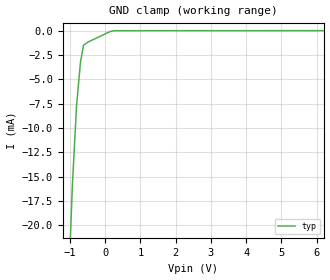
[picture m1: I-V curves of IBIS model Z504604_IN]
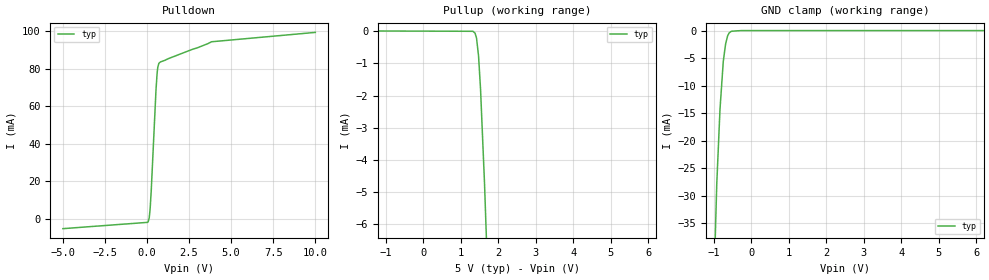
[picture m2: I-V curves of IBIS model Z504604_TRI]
| YOU ARE ONLY AUTHORIZED TO USE THIS SOFTWARE
| ACCORDING TO LICENSOR'S LICENSE RESTRICTIONS.
[IBIS Ver] 3.1
[File Name] sn74ls240n.ibs
[File Rev] 2.0
[Source] Measured and created by ICX Technology
[Date] Friday 7/14/00 9:08:18 AM
[Copyright]
| (C) COPYRIGHT 1993-2000
| MENTOR GRAPHICS CORPORATION
| ICX STANDARD LIBRARY, ICX PROJECT MODELING,
| ICX CUSTOM MODELING, ICX VENDOR MODEL
| ALL RIGHTS RESERVED.
| THE FOLLOWING ARE TRADEMARKS OR SERVICE MARKS OF
| MENTOR GRAPHICS CORPORATION:ICX (R), ICX STANDARD
| LIBRARY(R), ICX PROJECT MODELING(R), ICX CUSTOM
| MODELING(R), qualityIBIS(TM), MODELVIEWER(TM),
| AND MODELEDITOR(TM)
| ALL COPIES OF SOFTWARE, INCLUDING BUT NOT LIMITED TO
| ANY MODIFICATIONS, ENHANCEMENTS OR DERIVATIVE WORKS,
| MUST CONTAIN ALL MENTOR GRAPHICS CORPORATION'S
| NOTICES AND LEGENDS, INCLUDING THOSE EMBEDDED IN
| SOFTWARE AND THOSE AFFIXED TO SOFTWARE MEDIUM
| AND CONTAINER, AS RECEIVED FROM MENTOR GRAPHICS
| CORPORATION.
|  ZAP Model Builder 2.7
[Component] SN74LS240N
[Manufacturer] OnSemiconductor
[Package]
| variable   typ   min   max
R_pkg  .216ohms NA NA
L_pkg  5.76nH NA NA
C_pkg  1.29pF NA NA
[Pin] signal_name  model_name  R_pin  L_pin C_pin
1 _G Z504604_IN .232 9.76n 1.87p
2 A0 Z504604_IN .224 7.26n 1.58p
3 _Y3 Z504604_TRI .216 5.26n 1.29p
4 A1 Z504604_IN .208 3.76n 1.0p
5 _Y2 Z504604_TRI .2 2.76n .71p
6 A2 Z504604_IN .2 2.76n .71p
7 _Y1 Z504604_TRI .208 3.76n 1.0p
8 A3 Z504604_IN .216 5.26n 1.29p
9 _Y0 Z504604_TRI .224 7.26n 1.58p
10 GND GND .232 9.76n 1.87p
11 A0 Z504604_IN .232 9.76n 1.87p
12 _Y3 Z504604_TRI .224 7.26n 1.58p
13 A1 Z504604_IN .216 5.26n 1.29p
14 _Y2 Z504604_TRI .208 3.76n 1.0p
15 A2 Z504604_IN .2 2.76n .71p
16 _Y1 Z504604_TRI .2 2.76n .71p
17 A3 Z504604_IN .208 3.76n 1.0p
18 _Y0 Z504604_TRI .216 5.26n 1.29p
19 _G Z504604_IN .224 7.26n 1.58p
20 VCC POWER .232 9.76n 1.87p
| Models and submodels in the file (2): Z504604_IN (Input), Z504604_TRI (3-state)
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| (C) COPYRIGHT 1993-2000
| MENTOR GRAPHICS CORPORATION
| ICX STANDARD LIBRARY, ICX PROJECT MODELING,
| ICX CUSTOM MODELING, ICX VENDOR MODEL
| ALL RIGHTS RESERVED.
| THE FOLLOWING ARE TRADEMARKS OR SERVICE MARKS OF
| MENTOR GRAPHICS CORPORATION:ICX (R), ICX STANDARD
| LIBRARY(R), ICX PROJECT MODELING(R), ICX CUSTOM
| MODELING(R), qualityIBIS(TM), MODELVIEWER(TM),
| AND MODELEDITOR(TM)
| ALL COPIES OF SOFTWARE, INCLUDING BUT NOT LIMITED TO
| ANY MODIFICATIONS, ENHANCEMENTS OR DERIVATIVE WORKS,
| MUST CONTAIN ALL MENTOR GRAPHICS CORPORATION'S
| NOTICES AND LEGENDS, INCLUDING THOSE EMBEDDED IN
| SOFTWARE AND THOSE AFFIXED TO SOFTWARE MEDIUM
| AND CONTAINER, AS RECEIVED FROM MENTOR GRAPHICS
| CORPORATION.
| Model Application Version 1.89 2/18/99.
[Model] Z504604_IN
Model_type Input
Vinl = 800.0mV
Vinh = 2.000V
C_comp 4.000pF NA NA
| variable typ   min   max
[Voltage Range] 5.000V NA NA
[GND Clamp Reference] 0.000V NA NA
[POWER Clamp Reference] 5.000V NA NA
[GND Clamp]
-5V       -408.9mA   NA         NA
-926.7mV  -15.81mA   NA         NA
-809.6mV  -7.708mA   NA         NA
-698.2mV  -3.241mA   NA         NA
-612.7mV  -1.494mA   NA         NA
-490.2mV  -1.174mA   NA         NA
151.4mV   -70.43uA   NA         NA
248.7mV   1.567uA    NA         NA
10V       16.47uA    NA         NA
[POWER Clamp]
-5V       0A         NA         NA
10V       0A         NA         NA
| (C) COPYRIGHT 1993-2000
| MENTOR GRAPHICS CORPORATION
| ICX STANDARD LIBRARY, ICX PROJECT MODELING,
| ICX CUSTOM MODELING, ICX VENDOR MODEL
| ALL RIGHTS RESERVED.
| THE FOLLOWING ARE TRADEMARKS OR SERVICE MARKS OF
| MENTOR GRAPHICS CORPORATION:ICX (R), ICX STANDARD
| LIBRARY(R), ICX PROJECT MODELING(R), ICX CUSTOM
| MODELING(R), qualityIBIS(TM), MODELVIEWER(TM),
| AND MODELEDITOR(TM)
| ALL COPIES OF SOFTWARE, INCLUDING BUT NOT LIMITED TO
| ANY MODIFICATIONS, ENHANCEMENTS OR DERIVATIVE WORKS,
| MUST CONTAIN ALL MENTOR GRAPHICS CORPORATION'S
| NOTICES AND LEGENDS, INCLUDING THOSE EMBEDDED IN
| SOFTWARE AND THOSE AFFIXED TO SOFTWARE MEDIUM
| AND CONTAINER, AS RECEIVED FROM MENTOR GRAPHICS
| CORPORATION.
| Model Application Version 1.89 2/18/99.
[Model] Z504604_TRI
Model_type 3-state
Vref=588.0mV
Rref=588.5ohms
Cref=45.00pF
Vmeas=1.300V
C_comp 8.000pF NA NA
| variable typ   min   max
[Voltage Range] 5.000V NA NA
[POWER Clamp Reference] 5.000V NA NA
[Pullup Reference] 5.000V NA NA
[Pulldown Reference] 0.000V NA NA
[GND Clamp Reference] 0.000V NA NA
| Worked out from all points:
|   slope of the pulldown table from 0 to 0.75 V, typ, clamps not added: 8.79 ohm
|   GND clamp passes 1 mA (typ) near -0.63 V on its own axis
[GND Clamp]
-5V       -1.695A    NA         NA
-1.127V   -90.52mA   NA         NA
-1.01V    -50.55mA   NA         NA
-916.4mV  -27.9mA    NA         NA
-830mV    -14.29mA   NA         NA
-742mV    -5.557mA   NA         NA
-680.9mV  -2.448mA   NA         NA
-624.9mV  -917.4uA   NA         NA
-585.9mV  -431.5uA   NA         NA
-527.3mV  -120.7uA   NA         NA
-263.7mV  0A         NA         NA
10V       0A         NA         NA
[Pulldown]
-5V       -5.317mA   NA         NA
68.93mV   -1.609mA   NA         NA
131.7mV   479.7uA    NA         NA
185mV     5.317mA    NA         NA
251.6mV   15.27mA    NA         NA
533.4mV   68.84mA    NA         NA
601.2mV   77.87mA    NA         NA
637.6mV   80.74mA    NA         NA
698.2mV   82.8mA     NA         NA
737.3mV   83.27mA    NA         NA
3.836V    94.46mA    NA         NA
10V       99.46mA    NA         NA
[Pullup]
-5V       22.33uA    NA         NA
1.325V    -569.9nA   NA         NA
1.383V    -61.55uA   NA         NA
1.421V    -212.6uA   NA         NA
1.475V    -769.7uA   NA         NA
1.528V    -1.8mA     NA         NA
1.635V    -4.77mA    NA         NA
10V       -288.8mA   NA         NA
[POWER Clamp]
-5V       0A         NA         NA
10V       0A         NA         NA
[Ramp]
| variable typ min max
dV/dt_r 1.920/6.014n NA NA
dV/dt_f 1.920/3.541n NA NA
R_load = 500.0Ohms
